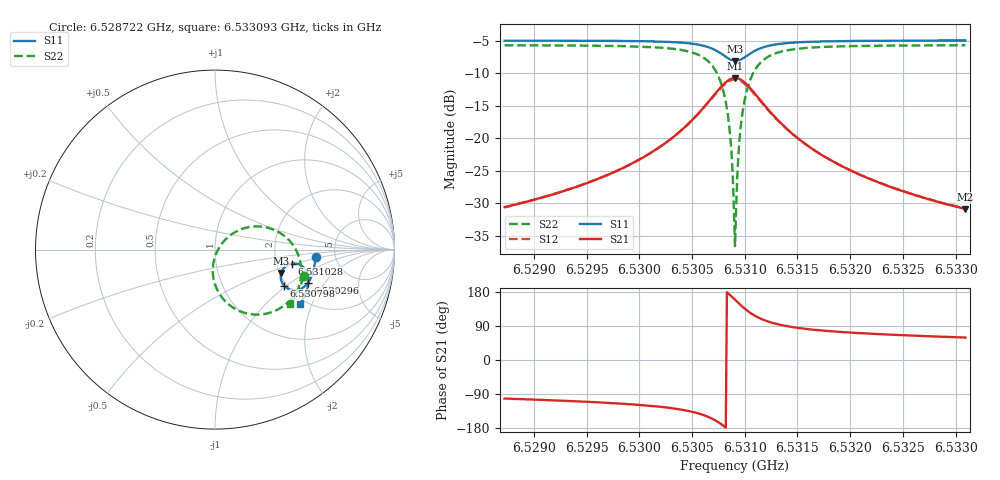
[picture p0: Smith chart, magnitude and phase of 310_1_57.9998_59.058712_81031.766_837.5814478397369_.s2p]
#  HZ  S  RI  R  50.00
! Rohde & Schwarz Vector Network Analyzer
! Rohde-Schwarz,ZNB20-2Port,1311601062101988,3.16
! Created: UTC 3/21/2024, 1:04:09 AM
! freq[Hz]  re:S11  im:S11  re:S21  im:S21  re:S12  im:S12  re:S22  im:S22
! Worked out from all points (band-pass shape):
!   401 points, 6.528722 GHz to 6.533093 GHz, reference 50 ohm
!   highest |S21| = -10.75 dB at 6.530908 GHz (marker M1); lowest = -30.9 dB at 6.533093 GHz (marker M2)
!   |S21| within 3 dB of the highest: 6.530689 GHz to 6.531127 GHz (437.4 kHz wide, 0.0067 % of centre)
!   lowest |S11| = -8.1 dB at 6.530908 GHz (marker M3), VSWR 2.29, Z = 102 - j31.5 ohm
!   |S11| at or under -10 dB: nowhere
!   |S22| runs from -36.6 to -5.7 dB; largest |S21 - S12| = 0.011
!   S11 on the Smith chart (normalised r, x): 6.528722 GHz: 3.50, -0.44; 6.530296 GHz: 2.59, -1.39; 6.530798 GHz: 1.94, -0.96; 6.531028 GHz: 2.43, -0.47; 6.533093 GHz: 1.84, -1.65
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6.528722e9  0.56 -0.0432  -0.006 -0.0289  -0.00661 -0.0288  0.4962 -0.1487
6.5294541e9  0.5512 -0.1034  -0.0148 -0.0411  -0.0156 -0.0409  0.4678 -0.215
6.5301863e9  0.5245 -0.1745  -0.0464 -0.071  -0.0482 -0.0698  0.391 -0.3074
6.5302956e9  0.5158 -0.1874  -0.0586 -0.0786  -0.0608 -0.077  0.3649 -0.3255
6.5306344e9  0.4536 -0.2256  -0.1537 -0.0962  -0.156 -0.0902  0.1844 -0.3571
6.5307327e9  0.4145 -0.2213  -0.2146 -0.0728  -0.2142 -0.0641  0.0811 -0.3092
6.5307983e9  0.3854 -0.2012  -0.2578 -0.0284  -0.2537 -0.0188  0.0142 -0.2273
6.5308529e9  0.3684 -0.1699  -0.2795 0.0322  -0.2717 0.0401  -0.0123 -0.1232
6.5308748e9  0.3662 -0.1546  -0.2805 0.0607  -0.2713 0.067  -0.00913 -0.0761
6.5308857e9  0.3664 -0.1466  -0.2788 0.0753  -0.2693 0.0807  -0.00413 -0.0527
6.5308966e9  0.3673 -0.1386  -0.2756 0.0898  -0.2659 0.0943  0.00335 -0.0295
6.5309076e9  0.369 -0.1308  -0.2709 0.1039  -0.2612 0.1075  0.0131 -0.00689
6.5309294e9  0.3752 -0.1159  -0.2578 0.1303  -0.2481 0.1322  0.039 0.0343
6.5309403e9  0.3795 -0.1091  -0.2496 0.1424  -0.2398 0.1433  0.0546 0.0526
6.5309622e9  0.3896 -0.0974  -0.2301 0.1632  -0.221 0.1627  0.0903 0.0837
6.530995e9  0.4079 -0.0849  -0.1963 0.1854  -0.1888 0.1834  0.1492 0.1147
6.5310278e9  0.4271 -0.0785  -0.1618 0.1971  -0.1559 0.1943  0.2086 0.1284
6.5311043e9  0.4659 -0.0818  -0.0935 0.195  -0.0904 0.1925  0.3231 0.1126
6.5312135e9  0.499 -0.1044  -0.0361 0.1652  -0.0344 0.1637  0.4162 0.0483
6.5316397e9  0.5209 -0.1803  0.0139 0.0817  0.015 0.0815  0.4808 -0.1285
6.5323719e9  0.5013 -0.2526  0.0165 0.0392  0.0174 0.0391  0.4532 -0.2436
6.5330931e9  0.4737 -0.3058  0.0146 0.0244  0.0151 0.0244  0.4183 -0.3055
